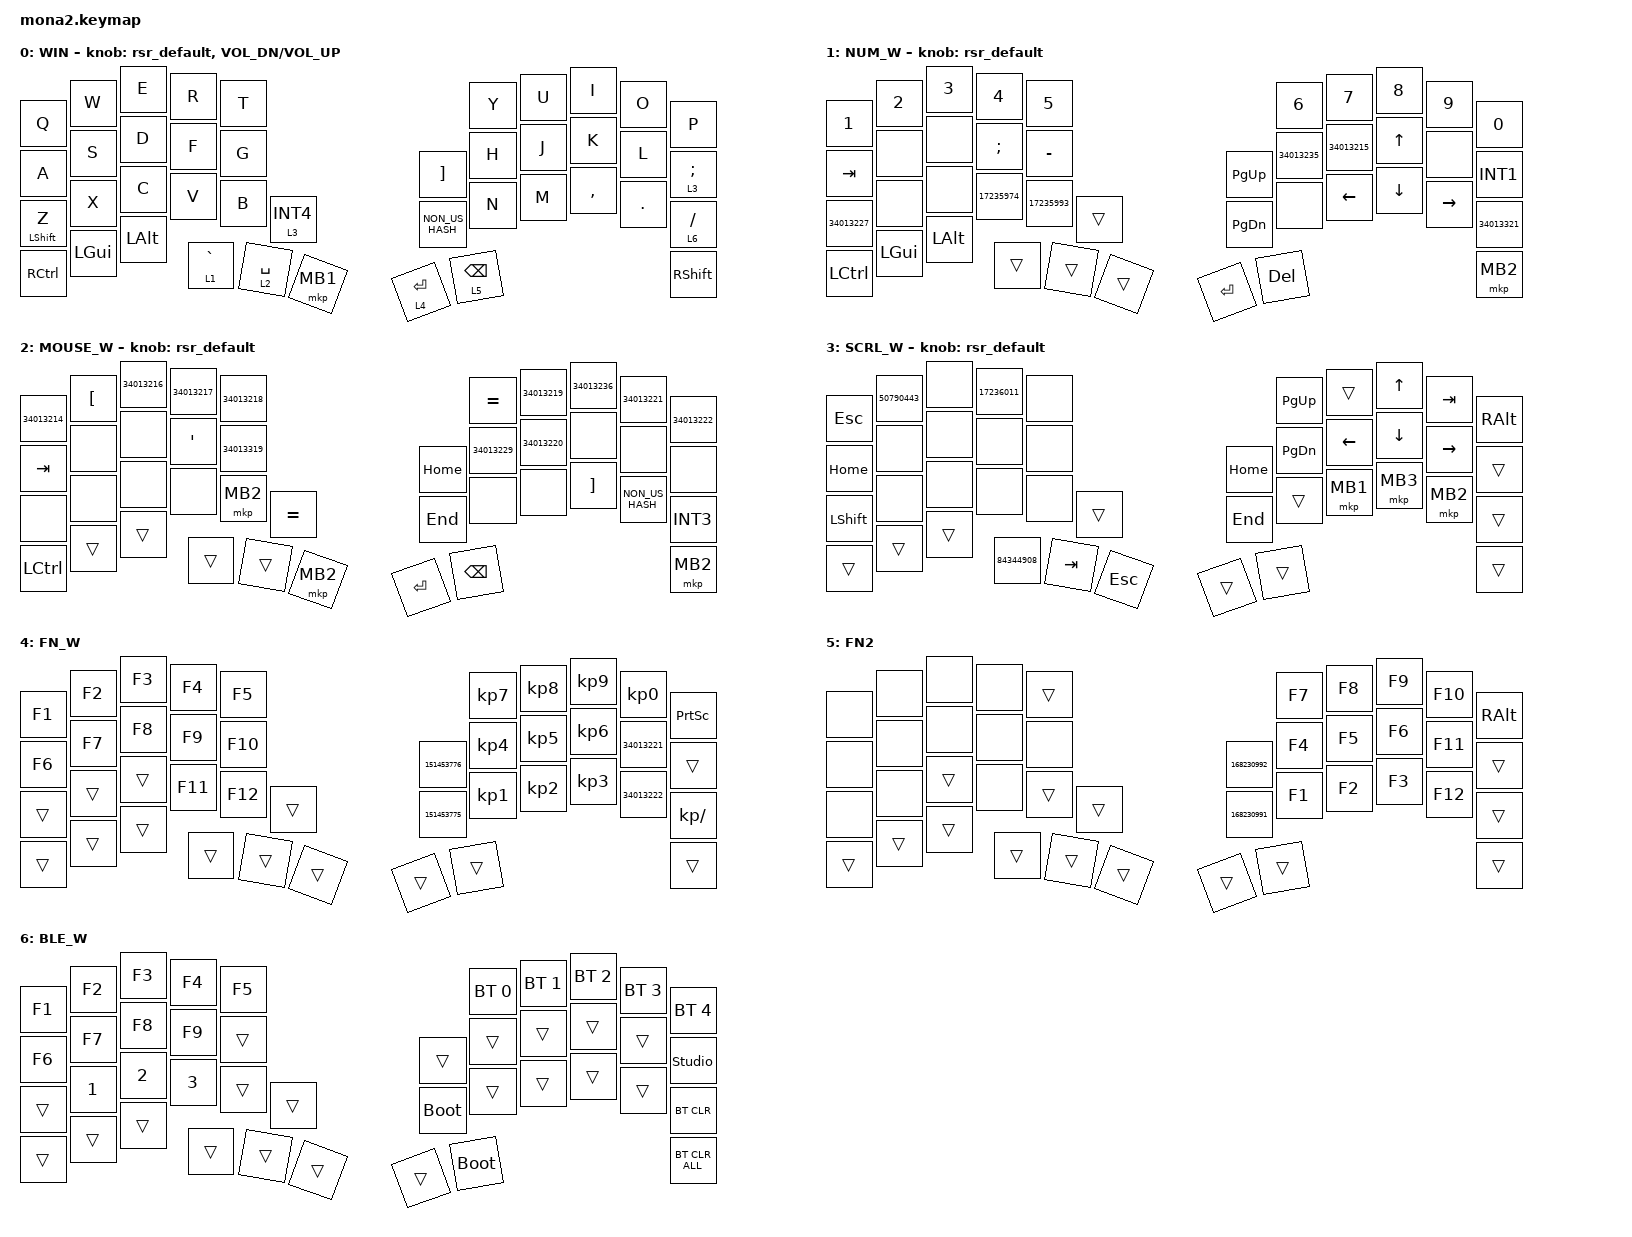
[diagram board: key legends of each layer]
#include <input/processors.dtsi>
#include <dt-bindings/zmk/input_transform.h>
#include <zephyr/dt-bindings/input/input-event-codes.h>
#include <behaviors.dtsi>
#include <behaviors/runtime-sensor-rotate.dtsi>
/* DYA Studio のランタイムマクロ (&rmacro <slot>) */
#include <behaviors/runtime_macro.dtsi>
#include <dt-bindings/zmk/bt.h>
#include <dt-bindings/zmk/keys.h>
#include <dt-bindings/zmk/outputs.h>
#include <dt-bindings/zmk/pointing.h>

/* ZMK 側で 10 が定義済みなので警告回避のため一旦 undef */
#undef ZMK_POINTING_DEFAULT_SCRL_VAL
#define ZMK_POINTING_DEFAULT_SCRL_VAL 100

&mt {
flavor = "balanced";
quick-tap-ms = <0>;
};

&lt {
quick-tap-ms = <200>;
flavor = "balanced";
};

&msc {
delay-ms = <0>;
time-to-max-speed-ms = <0>;
acceleration-exponent = <0>;
};

/ {
/* DYA Studio のランタイムコンボ (zmk-feature-runtime-combo) のコンパイル時デフォルト。
 * 旧 zmk,combos から移行。DYA Studio から編集でき、Reset to Default でここの値に戻る。 */
runtime_combo_defaults {
compatible = "cormoran,runtime-combo-defaults";

layer4_ESC {
slot = <0>;
bindings = <&lt 2 ESC>;  /* MOUSE_W */
key-positions = <39 38>;
};

tab {
slot = <1>;
bindings = <&kp TAB>;
key-positions = <11 12>;
};
};

macros {
to_layer_0: to_layer_0 {
compatible = "zmk,behavior-macro-one-param";
#binding-cells = <1>;
bindings = <&to 0 &macro_param_1to1 &kp MACRO_PLACEHOLDER>;
label = "TO_LAYER_0";
};

screenshot: screenshot {
compatible = "zmk,behavior-macro";
#binding-cells = <0>;
bindings =
<&macro_press>,
<&kp LEFT_GUI &kp RSHIFT>,
<&macro_wait_time 20>,
<&macro_tap>,
<&kp S>,
<&macro_release>,
<&kp LEFT_GUI &kp RSHIFT>;

label = "SCREENSHOT";
};

henkan: henkan {
compatible = "zmk,behavior-macro";
#binding-cells = <0>;
bindings =
<&macro_press>,
<&kp LEFT_ALT>,
<&macro_wait_time 20>,
<&macro_tap>,
<&kp GRAVE>,
<&macro_release>,
<&kp LEFT_ALT>;

label = "HENKAN";
};
};

behaviors {
lt_to_layer_0: lt_to_layer_0 {
compatible = "zmk,behavior-hold-tap";
label = "LAYER_TAP_TO_0";
bindings = <&mo>, <&to_layer_0>;

#binding-cells = <2>;
tapping-term-ms = <200>;
};

tp_repeat_mo1: tp_repeat_mo1 {
compatible = "zmk,behavior-hold-tap";
label = "TP_REPEAT_MO1";
bindings = <&mo>, <&key_repeat>;

#binding-cells = <2>;
tapping-term-ms = <200>;
};

// エンコーダ用 runtime-configurable sensor rotate
// デフォルトはスクロール (cw=SCRL_DOWN, ccw=SCRL_UP)
// DYA Studio Web UI から レイヤーごとに cw/ccw の binding を
// kp C_VOL_UP/DN や kp LEFT/RIGHT などへ動的変更可能
rsr_default: rsr_default {
compatible = "zmk,behavior-runtime-sensor-rotate";
#sensor-binding-cells = <0>;
tap-ms = <16>;
cw-binding = <&msc SCRL_DOWN>;
ccw-binding = <&msc SCRL_UP>;
};

tog_on: toggle_layer_on_only {
compatible = "zmk,behavior-toggle-layer";
#binding-cells = <1>;
display-name = "Toggle Layer On";
toggle-mode = "on";
};

tog_off: toggle_layer_off_only {
compatible = "zmk,behavior-toggle-layer";
#binding-cells = <1>;
display-name = "Toggle Layer Off";
toggle-mode = "off";
};

zfold: zfold {
compatible = "zmk,behavior-hold-tap";
label = "ZFOLD";
bindings = <&kp>, <&kp>;

#binding-cells = <2>;
tapping-term-ms = <300>;
flavor = "hold-preferred";
quick-tap-ms = <150>;
hold-while-undecided;
};

zfoldZ: zfoldZ {
compatible = "zmk,behavior-tap-dance";
label = "ZFOLDZ";
#binding-cells = <0>;
bindings = <&zfold LEFT_SHIFT Z>, <&kp LS(Z)>;
};
};

    keymap {
        compatible = "zmk,keymap";

        win_layer {
            display-name = "WIN";
            bindings = <
                &kp Q    &kp W    &kp E    &kp R    &kp T    &kp Y    &kp U    &kp I    &kp O    &kp P    &kp A    &kp S
                &kp D    &kp F    &kp G    &kp RIGHT_BRACKET    &kp H    &kp J    &kp K    &kp L    &lt 3 SEMICOLON    &mt LEFT_SHIFT Z    &kp X    &kp C
                &kp V    &kp B    &lt 3 INT4    &kp NON_US_HASH    &kp N    &kp M    &kp COMMA    &kp PERIOD    &lt 6 SLASH    &kp RIGHT_CONTROL    &kp LEFT_GUI    &kp LEFT_ALT
                &lt 1 GRAVE    &lt 2 SPACE    &mkp MB1    &lt 4 RETURN    &lt 5 BACKSPACE    &kp RIGHT_SHIFT
            >;
            sensor-bindings = <&rsr_default>, <&inc_dec_kp C_VOL_DN C_VOL_UP>;
        };

        num_w_layer {
            display-name = "NUM_W";
            bindings = <
                &kp N1    &kp N2    &kp N3    &kp N4    &kp N5    &kp N6    &kp N7    &kp N8    &kp N9    &kp N0    &kp TAB    &none
                &none    &kp SEMICOLON    &kp MINUS    &kp PAGE_UP    &kp 34013235    &kp 34013215    &kp UP    &none    &kp INT1    &kp 34013227    &none    &none
                &kp 17235974    &kp 17235993    &trans    &kp PAGE_DOWN    &none    &kp LEFT    &kp DOWN    &kp RIGHT    &kp 34013321    &kp LEFT_CONTROL    &kp LEFT_GUI    &kp LEFT_ALT
                &trans    &trans    &trans    &kp RETURN    &kp DELETE    &mkp MB2
            >;
            sensor-bindings = <&rsr_default>;
        };

        mouse_w_layer {
            display-name = "MOUSE_W";
            bindings = <
                &kp 34013214    &kp LEFT_BRACKET    &kp 34013216    &kp 34013217    &kp 34013218    &kp EQUAL    &kp 34013219    &kp 34013236    &kp 34013221    &kp 34013222    &kp TAB    &none
                &none    &kp SQT    &kp 34013319    &kp HOME    &kp 34013229    &kp 34013220    &none    &none    &none    &none    &none    &none
                &none    &mkp MB2    &kp EQUAL    &kp END    &none    &none    &kp RIGHT_BRACKET    &kp NON_US_HASH    &kp INT3    &kp LEFT_CONTROL    &trans    &trans
                &trans    &trans    &mkp MB2    &kp RETURN    &kp BACKSPACE    &mkp MB2
            >;
            sensor-bindings = <&rsr_default>;
        };

        scrl_w_layer {
            display-name = "SCRL_W";
            bindings = <
                &kp ESCAPE    &kp 50790443    &none    &kp 17236011    &none    &kp PAGE_UP    &trans    &kp UP    &kp TAB    &kp RIGHT_ALT    &kp HOME    &none
                &none    &none    &none    &kp HOME    &kp PAGE_DOWN    &kp LEFT    &kp DOWN    &kp RIGHT    &trans    &kp LEFT_SHIFT    &none    &none
                &none    &none    &trans    &kp END    &trans    &mkp MB1    &mkp MB3    &mkp MB2    &trans    &trans    &trans    &trans
                &kp 84344908    &kp TAB    &kp ESCAPE    &trans    &trans    &trans
            >;
            sensor-bindings = <&rsr_default>;
        };

        fn_w_layer {
            display-name = "FN_W";
            bindings = <
                &kp F1    &kp F2    &kp F3    &kp F4    &kp F5    &kp KP_N7    &kp KP_N8    &kp KP_N9    &kp KP_N0    &kp PRINTSCREEN    &kp F6    &kp F7
                &kp F8    &kp F9    &kp F10    &kp 151453776    &kp KP_N4    &kp KP_N5    &kp KP_N6    &kp 34013221    &trans    &trans    &trans    &trans
                &kp F11    &kp F12    &trans    &kp 151453775    &kp KP_N1    &kp KP_N2    &kp KP_N3    &kp 34013222    &kp KP_SLASH    &trans    &trans    &trans
                &trans    &trans    &trans    &trans    &trans    &trans
            >;
        };

        fn2_layer {
            display-name = "FN2";
            bindings = <
                &none    &none    &none    &none    &trans    &kp F7    &kp F8    &kp F9    &kp F10    &kp RIGHT_ALT    &none    &none
                &none    &none    &none    &kp 168230992    &kp F4    &kp F5    &kp F6    &kp F11    &trans    &none    &none    &trans
                &none    &trans    &trans    &kp 168230991    &kp F1    &kp F2    &kp F3    &kp F12    &trans    &trans    &trans    &trans
                &trans    &trans    &trans    &trans    &trans    &trans
            >;
        };

        ble_w_layer {
            display-name = "BLE_W";
            bindings = <
                &kp F1    &kp F2    &kp F3    &kp F4    &kp F5    &bt BT_SEL 0    &bt BT_SEL 1    &bt BT_SEL 2    &bt BT_SEL 3    &bt BT_SEL 4    &kp F6    &kp F7
                &kp F8    &kp F9    &trans    &trans    &trans    &trans    &trans    &trans    &studio_unlock    &trans    &kp N1    &kp N2
                &kp N3    &trans    &trans    &bootloader    &trans    &trans    &trans    &trans    &bt BT_CLR    &trans    &trans    &trans
                &trans    &trans    &trans    &trans    &bootloader    &bt BT_CLR_ALL
            >;
        };
    };
};
